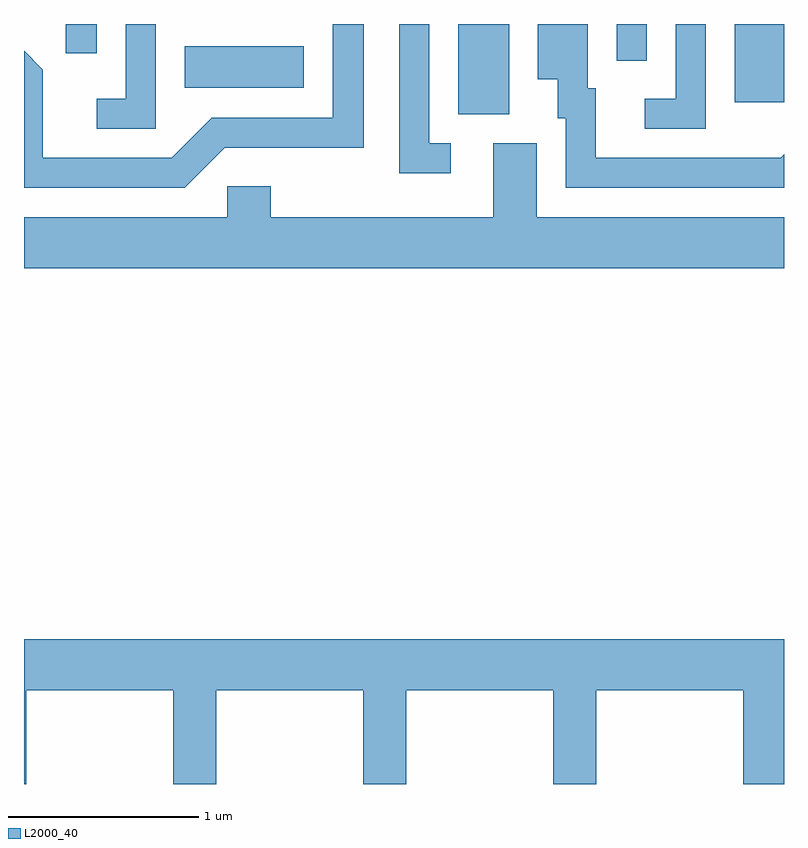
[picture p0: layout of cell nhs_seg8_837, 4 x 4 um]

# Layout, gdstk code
import gdstk
lib = gdstk.Library(unit=1e-6, precision=1e-09)
def R(c, l, rs):  # rectangles x0, y0, x1, y1
    for r in rs: c.add(gdstk.rectangle(r[:2], r[2:], *l))
def P(c, l, *ps):  # polygons
    for p in ps: c.add(gdstk.Polygon(p, *l))
L2000_40 = (2000, 40)

nhs_seg8_837 = lib.new_cell('nhs_seg8_837')
R(nhs_seg8_837, L2000_40, [(211.896,1863.866,212.164,1864.342), (213.351,1863.931,213.611,1864.342), (210.456,1864.006,211.084,1864.224), (212.731,1864.148,212.889,1864.342), (209.831,1864.188,209.994,1864.342)])
P(nhs_seg8_837, L2000_40, [(213.199,1864.342),(213.041,1864.342),(213.041,1863.949),(212.878,1863.949),(212.878,1863.791),(213.199,1863.791)],
  [(210.667,1863.691),(211.399,1863.691),(211.399,1864.342),(211.236,1864.342),(211.236,1863.849),(210.599,1863.849),(210.389,1863.639),(209.709,1863.639),(209.709,1864.102),(209.611,1864.2),(209.611,1863.481),(210.457,1863.481)],
  [(211.858,1863.714),(211.744,1863.714),(211.744,1864.342),(211.586,1864.342),(211.586,1863.556),(211.858,1863.556)],
  [(213.611,1863.656),(213.594,1863.639),(212.619,1863.639),(212.619,1864.004),(212.579,1864.004),(212.579,1864.342),(212.316,1864.342),(212.316,1864.051),(212.421,1864.051),(212.421,1863.846),(212.461,1863.846),(212.461,1863.481),(213.611,1863.481)],
  [(210.304,1864.342),(210.146,1864.342),(210.146,1863.949),(209.993,1863.949),(209.993,1863.791),(210.304,1863.791)],
  [(213.611,1863.324),(212.309,1863.324),(212.309,1863.714),(212.081,1863.714),(212.081,1863.324),(210.909,1863.324),(210.909,1863.489),(210.681,1863.489),(210.681,1863.324),(209.611,1863.324),(209.611,1863.056),(213.611,1863.056)],
  [(209.624,1860.836),(210.396,1860.836),(210.396,1860.342),(210.624,1860.342),(210.624,1860.836),(211.396,1860.836),(211.396,1860.342),(211.624,1860.342),(211.624,1860.836),(212.396,1860.836),(212.396,1860.342),(212.624,1860.342),(212.624,1860.836),(213.396,1860.836),(213.396,1860.342),(213.611,1860.342),(213.611,1861.104),(209.611,1861.104),(209.611,1860.342),(209.624,1860.342)])

lib.write_gds('nhs_seg8_837.gds')
